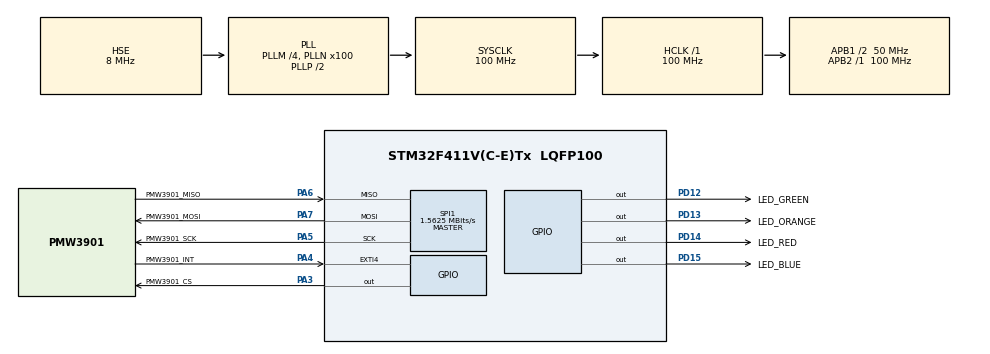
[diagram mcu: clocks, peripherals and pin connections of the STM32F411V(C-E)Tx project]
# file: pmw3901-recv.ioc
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Mcu.Family=STM32F4
Mcu.Name=STM32F411V(C-E)Tx
Mcu.Package=LQFP100
NVIC.EXTI4_IRQn=true\:0\:0\:false\:false\:true\:true\:true\:true
NVIC.PriorityGroup=NVIC_PRIORITYGROUP_4
PA3.GPIO_Label=PMW3901_CS
PA3.GPIO_Speed=GPIO_SPEED_FREQ_VERY_HIGH
PA3.PinState=GPIO_PIN_SET
PA3.Signal=GPIO_Output
PA4.GPIO_Label=PMW3901_INT
PA4.GPIO_ModeDefaultEXTI=GPIO_MODE_IT_FALLING
PA4.Signal=GPXTI4
PA5.GPIO_Label=PMW3901_SCK
PA5.Mode=Full_Duplex_Master
PA5.Signal=SPI1_SCK
PA6.GPIO_Label=PMW3901_MISO
PA6.Mode=Full_Duplex_Master
PA6.Signal=SPI1_MISO
PA7.GPIO_Label=PMW3901_MOSI
PA7.Mode=Full_Duplex_Master
PA7.Signal=SPI1_MOSI
PD12.GPIO_Label=LED_GREEN
PD12.Signal=GPIO_Output
PD13.GPIO_Label=LED_ORANGE
PD13.Signal=GPIO_Output
PD14.GPIO_Label=LED_RED
PD14.Signal=GPIO_Output
PD15.GPIO_Label=LED_BLUE
PD15.Signal=GPIO_Output
PH0\ -\ OSC_IN.Mode=HSE-External-Oscillator
PH0\ -\ OSC_IN.Signal=RCC_OSC_IN
PH1\ -\ OSC_OUT.Mode=HSE-External-Oscillator
PH1\ -\ OSC_OUT.Signal=RCC_OSC_OUT
ProjectManager.HeapSize=0x200
ProjectManager.StackSize=0x400
ProjectManager.TargetToolchain=STM32CubeIDE
RCC.48MHZClocksFreq_Value=50000000
RCC.AHBFreq_Value=100000000
RCC.APB1CLKDivider=RCC_HCLK_DIV2
RCC.APB1Freq_Value=50000000
RCC.APB1TimFreq_Value=100000000
RCC.APB2Freq_Value=100000000
RCC.APB2TimFreq_Value=100000000
RCC.CortexFreq_Value=100000000
RCC.HCLKFreq_Value=100000000
RCC.HSE_VALUE=8000000
RCC.HSI_VALUE=16000000
RCC.LSE_VALUE=32768
RCC.PLLM=4
RCC.PLLN=100
RCC.PLLSourceVirtual=RCC_PLLSOURCE_HSE
RCC.SYSCLKFreq_VALUE=100000000
RCC.SYSCLKSource=RCC_SYSCLKSOURCE_PLLCLK
RCC.VCOOutputFreq_Value=200000000
SPI1.BaudRatePrescaler=SPI_BAUDRATEPRESCALER_64
SPI1.CalculateBaudRate=1.5625 MBits/s
SPI1.Direction=SPI_DIRECTION_2LINES
SPI1.Mode=SPI_MODE_MASTER
SPI1.VirtualType=VM_MASTER
board=custom

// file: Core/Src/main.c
/* USER CODE BEGIN Header */
/**
  ******************************************************************************
  * @file           : main.c
  * @brief          : Main program body
  ******************************************************************************
  * @attention
  *
  * Copyright (c) 2024 STMicroelectronics.
  * All rights reserved.
  *
  * This software is licensed under terms that can be found in the LICENSE file
  * in the root directory of this software component.
  * If no LICENSE file comes with this software, it is provided AS-IS.
  *
  ******************************************************************************
  */
/* USER CODE END Header */
#include "main.h"

/* USER CODE BEGIN Includes */

//#include <string.h>

#include "pmw3901.h"

/* USER CODE END Includes */

SPI_HandleTypeDef hspi1;

void SystemClock_Config(void);
static void MX_GPIO_Init(void);
static void MX_SPI1_Init(void);

/* USER CODE BEGIN 0 */

void pmw3901_write(const uint8_t address, const uint8_t value) {
	uint8_t tx[] = {address | 0x80, value};

	HAL_GPIO_WritePin(PMW3901_CS_GPIO_Port, PMW3901_CS_Pin, GPIO_PIN_RESET);
	HAL_Delay(1);
	HAL_SPI_Transmit(&hspi1, tx, sizeof(tx), HAL_MAX_DELAY);
	HAL_Delay(1);
	HAL_GPIO_WritePin(PMW3901_CS_GPIO_Port, PMW3901_CS_Pin, GPIO_PIN_SET);
	HAL_Delay(1);
}

void pmw3901_read(const uint8_t address, uint8_t *buffer, const uint8_t len) {
	uint8_t tx[32] = {0};
	uint8_t rx[32] = {0};

	for(uint8_t i=0; i<len; i++) {
		tx[2*i] = (address + i) & ~0x80;
	}

	HAL_GPIO_WritePin(PMW3901_CS_GPIO_Port, PMW3901_CS_Pin, GPIO_PIN_RESET);
	HAL_Delay(1);
	HAL_SPI_TransmitReceive(&hspi1, tx, rx, 2*len, HAL_MAX_DELAY);
	HAL_Delay(1);
	HAL_GPIO_WritePin(PMW3901_CS_GPIO_Port, PMW3901_CS_Pin, GPIO_PIN_SET);
	HAL_Delay(1);

	for(uint8_t i=0; i<len; i++) {
		buffer[i] = rx[2*i + 1];
	}
}

void pmw3901_init() {
	pmw3901_write(0x3A, 0x5A);

	HAL_Delay(5);

	pmw3901_write(0x7F, 0x00);
	pmw3901_write(0x61, 0xAD);
	pmw3901_write(0x7F, 0x03);
	pmw3901_write(0x40, 0x00);
	pmw3901_write(0x7F, 0x05);
	pmw3901_write(0x41, 0xB3);
	pmw3901_write(0x43, 0xF1);
	pmw3901_write(0x45, 0x14);
	pmw3901_write(0x5B, 0x32);
	pmw3901_write(0x5F, 0x34);
	pmw3901_write(0x7B, 0x08);
	pmw3901_write(0x7F, 0x06);
	pmw3901_write(0x44, 0x1B);
	pmw3901_write(0x40, 0xBF);
	pmw3901_write(0x4E, 0x3F);
	pmw3901_write(0x7F, 0x08);
	pmw3901_write(0x65, 0x20);
	pmw3901_write(0x6A, 0x18);
	pmw3901_write(0x7F, 0x09);
	pmw3901_write(0x4F, 0xAF);
	pmw3901_write(0x5F, 0x40);
	pmw3901_write(0x48, 0x80);
	pmw3901_write(0x49, 0x80);
	pmw3901_write(0x57, 0x77);
	pmw3901_write(0x60, 0x78);
	pmw3901_write(0x61, 0x78);
	pmw3901_write(0x62, 0x08);
	pmw3901_write(0x63, 0x50);
	pmw3901_write(0x7F, 0x0A);
	pmw3901_write(0x45, 0x60);
	pmw3901_write(0x7F, 0x00);
	pmw3901_write(0x4D, 0x11);
	pmw3901_write(0x55, 0x80);
	pmw3901_write(0x74, 0x1F);
	pmw3901_write(0x75, 0x1F);
	pmw3901_write(0x4A, 0x78);
	pmw3901_write(0x4B, 0x78);
	pmw3901_write(0x44, 0x08);
	pmw3901_write(0x45, 0x50);
	pmw3901_write(0x64, 0xFF);
	pmw3901_write(0x65, 0x1F);
	pmw3901_write(0x7F, 0x14);
	pmw3901_write(0x65, 0x60);
	pmw3901_write(0x66, 0x08);
	pmw3901_write(0x63, 0x78);
	pmw3901_write(0x7F, 0x15);
	pmw3901_write(0x48, 0x58);
	pmw3901_write(0x7F, 0x07);
	pmw3901_write(0x41, 0x0D);
	pmw3901_write(0x43, 0x14);
	pmw3901_write(0x4B, 0x0E);
	pmw3901_write(0x45, 0x0F);
	pmw3901_write(0x44, 0x42);
	pmw3901_write(0x4C, 0x80);
	pmw3901_write(0x7F, 0x10);
	pmw3901_write(0x5B, 0x02);
	pmw3901_write(0x7F, 0x07);
	pmw3901_write(0x40, 0x41);
	pmw3901_write(0x70, 0x00);

	HAL_Delay(100);

	pmw3901_write(0x32, 0x44);
	pmw3901_write(0x7F, 0x07);
	pmw3901_write(0x40, 0x40);
	pmw3901_write(0x7F, 0x06);
	pmw3901_write(0x62, 0xf0);
	pmw3901_write(0x63, 0x00);
	pmw3901_write(0x7F, 0x0D);
	pmw3901_write(0x48, 0xC0);
	pmw3901_write(0x6F, 0xd5);
	pmw3901_write(0x7F, 0x00);
	pmw3901_write(0x5B, 0xa0);
	pmw3901_write(0x4E, 0xA8);
	pmw3901_write(0x5A, 0x50);
	pmw3901_write(0x40, 0x80);
}

uint8_t pmw3901_check() {
	uint8_t id = 0;
	uint8_t inv = 0;

	pmw3901_read(PMW3901_REG_PRODUCT_ID, &id, 1);
	pmw3901_read(PMW3901_REG_INVERSE_PRODUCT_ID, &inv, 1);

	return ((id==PMW3901_PRODUCT_ID) && (inv==PMW3901_PRODUCT_ID_INVERSE));
}

float vel_x = 0;
float vel_y = 0;

void HAL_GPIO_EXTI_Callback(uint16_t GPIO_Pin) {
	if(GPIO_Pin==PMW3901_INT_Pin) {
		HAL_GPIO_TogglePin(LED_BLUE_GPIO_Port, LED_BLUE_Pin);
	}
}

/* USER CODE END 0 */

int main(void)
{

  /* MCU Configuration--------------------------------------------------------*/

  /* Reset of all peripherals, Initializes the Flash interface and the Systick. */
  HAL_Init();

  /* Configure the system clock */
  SystemClock_Config();

  /* Initialize all configured peripherals */
  MX_GPIO_Init();
  MX_SPI1_Init();

  /* Infinite loop */
  /* USER CODE BEGIN WHILE */

	pmw3901_init();

	uint32_t last_read = 0;
	uint32_t last_check = 0;

	while(1) {
		const uint32_t time = HAL_GetTick();

		if((time - last_read)>20) {
			const float h = 0.1f;
			const float dt = (time - last_read)*0.001f;

			last_read = time;

			uint8_t motion[5] = {0};
			pmw3901_read(PMW3901_REG_MOTION, motion, sizeof(motion));
			const int16_t delta_x = (((int16_t)motion[2])<<8) | motion[1];
			const int16_t delta_y = (((int16_t)motion[4])<<8) | motion[3];

			vel_x = h*delta_x/(dt*PMW3901_FOCAL_LENGTH);
			vel_y = h*delta_y/(dt*PMW3901_FOCAL_LENGTH);
		}

		if((time - last_check)>1000) {
			last_check = time;

			const uint8_t state = pmw3901_check();

			HAL_GPIO_WritePin(LED_GREEN_GPIO_Port, LED_GREEN_Pin, state);
			HAL_GPIO_WritePin(LED_RED_GPIO_Port, LED_RED_Pin, !state);
		}

    /* USER CODE END WHILE */

  }
}

void SystemClock_Config(void)
{
  RCC_OscInitTypeDef RCC_OscInitStruct = {0};
  RCC_ClkInitTypeDef RCC_ClkInitStruct = {0};

  /** Configure the main internal regulator output voltage
  */
  __HAL_RCC_PWR_CLK_ENABLE();
  __HAL_PWR_VOLTAGESCALING_CONFIG(PWR_REGULATOR_VOLTAGE_SCALE1);

  /** Initializes the RCC Oscillators according to the specified parameters
  * in the RCC_OscInitTypeDef structure.
  */
  RCC_OscInitStruct.OscillatorType = RCC_OSCILLATORTYPE_HSE;
  RCC_OscInitStruct.HSEState = RCC_HSE_ON;
  RCC_OscInitStruct.PLL.PLLState = RCC_PLL_ON;
  RCC_OscInitStruct.PLL.PLLSource = RCC_PLLSOURCE_HSE;
  RCC_OscInitStruct.PLL.PLLM = 4;
  RCC_OscInitStruct.PLL.PLLN = 100;
  RCC_OscInitStruct.PLL.PLLP = RCC_PLLP_DIV2;
  RCC_OscInitStruct.PLL.PLLQ = 4;
  if (HAL_RCC_OscConfig(&RCC_OscInitStruct) != HAL_OK)
  {
    Error_Handler();
  }

  /** Initializes the CPU, AHB and APB buses clocks
  */
  RCC_ClkInitStruct.ClockType = RCC_CLOCKTYPE_HCLK|RCC_CLOCKTYPE_SYSCLK
                              |RCC_CLOCKTYPE_PCLK1|RCC_CLOCKTYPE_PCLK2;
  RCC_ClkInitStruct.SYSCLKSource = RCC_SYSCLKSOURCE_PLLCLK;
  RCC_ClkInitStruct.AHBCLKDivider = RCC_SYSCLK_DIV1;
  RCC_ClkInitStruct.APB1CLKDivider = RCC_HCLK_DIV2;
  RCC_ClkInitStruct.APB2CLKDivider = RCC_HCLK_DIV1;

  if (HAL_RCC_ClockConfig(&RCC_ClkInitStruct, FLASH_LATENCY_3) != HAL_OK)
  {
    Error_Handler();
  }
}

static void MX_SPI1_Init(void)
{

  /* SPI1 parameter configuration*/
  hspi1.Instance = SPI1;
  hspi1.Init.Mode = SPI_MODE_MASTER;
  hspi1.Init.Direction = SPI_DIRECTION_2LINES;
  hspi1.Init.DataSize = SPI_DATASIZE_8BIT;
  hspi1.Init.CLKPolarity = SPI_POLARITY_LOW;
  hspi1.Init.CLKPhase = SPI_PHASE_1EDGE;
  hspi1.Init.NSS = SPI_NSS_SOFT;
  hspi1.Init.BaudRatePrescaler = SPI_BAUDRATEPRESCALER_64;
  hspi1.Init.FirstBit = SPI_FIRSTBIT_MSB;
  hspi1.Init.TIMode = SPI_TIMODE_DISABLE;
  hspi1.Init.CRCCalculation = SPI_CRCCALCULATION_DISABLE;
  hspi1.Init.CRCPolynomial = 10;
  if (HAL_SPI_Init(&hspi1) != HAL_OK)
  {
    Error_Handler();
  }

}

static void MX_GPIO_Init(void)
{
  GPIO_InitTypeDef GPIO_InitStruct = {0};

  /* GPIO Ports Clock Enable */
  __HAL_RCC_GPIOH_CLK_ENABLE();
  __HAL_RCC_GPIOA_CLK_ENABLE();
  __HAL_RCC_GPIOD_CLK_ENABLE();

  /*Configure GPIO pin Output Level */
  HAL_GPIO_WritePin(PMW3901_CS_GPIO_Port, PMW3901_CS_Pin, GPIO_PIN_SET);

  /*Configure GPIO pin Output Level */
  HAL_GPIO_WritePin(GPIOD, LED_GREEN_Pin|LED_ORANGE_Pin|LED_RED_Pin|LED_BLUE_Pin, GPIO_PIN_RESET);

  /*Configure GPIO pin : PMW3901_CS_Pin */
  GPIO_InitStruct.Pin = PMW3901_CS_Pin;
  GPIO_InitStruct.Mode = GPIO_MODE_OUTPUT_PP;
  GPIO_InitStruct.Pull = GPIO_NOPULL;
  GPIO_InitStruct.Speed = GPIO_SPEED_FREQ_VERY_HIGH;
  HAL_GPIO_Init(PMW3901_CS_GPIO_Port, &GPIO_InitStruct);

  /*Configure GPIO pin : PMW3901_INT_Pin */
  GPIO_InitStruct.Pin = PMW3901_INT_Pin;
  GPIO_InitStruct.Mode = GPIO_MODE_IT_FALLING;
  GPIO_InitStruct.Pull = GPIO_NOPULL;
  HAL_GPIO_Init(PMW3901_INT_GPIO_Port, &GPIO_InitStruct);

  /*Configure GPIO pins : LED_GREEN_Pin LED_ORANGE_Pin LED_RED_Pin LED_BLUE_Pin */
  GPIO_InitStruct.Pin = LED_GREEN_Pin|LED_ORANGE_Pin|LED_RED_Pin|LED_BLUE_Pin;
  GPIO_InitStruct.Mode = GPIO_MODE_OUTPUT_PP;
  GPIO_InitStruct.Pull = GPIO_NOPULL;
  GPIO_InitStruct.Speed = GPIO_SPEED_FREQ_LOW;
  HAL_GPIO_Init(GPIOD, &GPIO_InitStruct);

  /* EXTI interrupt init*/
  HAL_NVIC_SetPriority(EXTI4_IRQn, 0, 0);
  HAL_NVIC_EnableIRQ(EXTI4_IRQn);

}

void Error_Handler(void)
{
  __disable_irq();
  while (1)
  {
  }
}
